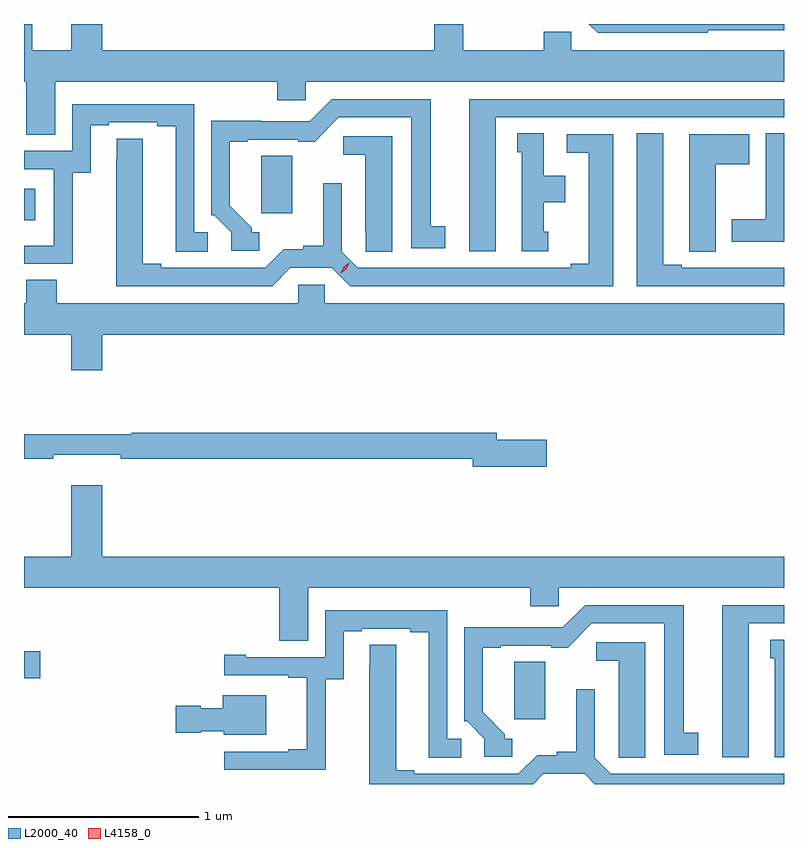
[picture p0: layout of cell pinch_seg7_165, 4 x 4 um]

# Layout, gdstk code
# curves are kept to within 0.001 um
import gdstk
lib = gdstk.Library(unit=1e-6, precision=1e-09)
def R(c, l, rs):  # rectangles x0, y0, x1, y1
    for r in rs: c.add(gdstk.rectangle(r[:2], r[2:], *l))
def P(c, l, *ps):  # polygons
    for p in ps: c.add(gdstk.Polygon(p, *l))
L2000_40 = (2000, 40)
L4158_0 = (4158, 0)

pinch_seg7_165 = lib.new_cell('pinch_seg7_165')
R(pinch_seg7_165, L2000_40, [(1123.799,1009.463,1123.885,1009.605), (1123.799,1011.875,1123.858,1012.039)])
P(pinch_seg7_165, L2000_40, [(1123.963,1012.604),(1125.131,1012.604),(1125.131,1012.506),(1125.282,1012.506),(1125.282,1012.604),(1127.799,1012.604),(1127.799,1012.768),(1126.68,1012.768),(1126.68,1012.866),(1126.534,1012.866),(1126.534,1012.768),(1126.111,1012.768),(1126.111,1012.907),(1125.959,1012.907),(1125.959,1012.768),(1124.212,1012.768),(1124.212,1012.907),(1124.048,1012.907),(1124.048,1012.768),(1123.843,1012.768),(1123.843,1012.907),(1123.799,1012.907),(1123.799,1012.604),(1123.811,1012.604),(1123.811,1012.324),(1123.963,1012.324)],
  [(1127.397,1012.875),(1127.799,1012.875),(1127.799,1012.907),(1126.771,1012.907),(1126.818,1012.86),(1127.397,1012.86)],
  [(1126.282,1012.416),(1127.799,1012.416),(1127.799,1012.512),(1126.142,1012.512),(1126.142,1011.711),(1126.282,1011.711)],
  [(1125.037,1011.81),(1124.998,1011.81),(1124.998,1011.834),(1124.881,1011.95),(1124.881,1012.287),(1124.977,1012.287),(1124.977,1012.299),(1125.242,1012.299),(1125.242,1012.288),(1125.328,1012.288),(1125.456,1012.416),(1125.836,1012.416),(1125.836,1011.726),(1126.015,1011.726),(1126.015,1011.842),(1125.94,1011.842),(1125.94,1012.512),(1125.42,1012.512),(1125.303,1012.395),(1125.047,1012.395),(1125.047,1012.397),(1124.784,1012.397),(1124.784,1011.9),(1124.799,1011.9),(1124.889,1011.81),(1124.889,1011.714),(1125.037,1011.714)],
  [(1124.055,1012.123),(1124.149,1012.123),(1124.149,1012.374),(1124.245,1012.374),(1124.245,1012.389),(1124.501,1012.389),(1124.501,1012.369),(1124.597,1012.369),(1124.597,1011.709),(1124.767,1011.709),(1124.767,1011.81),(1124.694,1011.81),(1124.694,1012.485),(1124.052,1012.485),(1124.052,1012.239),(1123.799,1012.239),(1123.799,1012.143),(1123.956,1012.143),(1123.956,1011.742),(1123.955,1011.742),(1123.955,1011.741),(1123.799,1011.741),(1123.799,1011.645),(1124.055,1011.645)],
  [(1127.799,1011.624),(1127.702,1011.624),(1127.702,1011.625),(1127.536,1011.625),(1127.536,1011.624),(1127.26,1011.624),(1127.26,1011.639),(1127.164,1011.639),(1127.164,1012.331),(1127.024,1012.331),(1127.024,1011.528),(1127.799,1011.528)],
  [(1126.558,1011.813),(1126.534,1011.813),(1126.534,1011.968),(1126.648,1011.968),(1126.648,1012.108),(1126.534,1012.108),(1126.534,1012.331),(1126.394,1012.331),(1126.394,1012.233),(1126.418,1012.233),(1126.418,1011.711),(1126.558,1011.711)],
  [(1127.799,1012.331),(1127.702,1012.331),(1127.702,1011.879),(1127.525,1011.879),(1127.525,1011.762),(1127.799,1011.762)],
  [(1127.44,1012.168),(1127.617,1012.168),(1127.617,1012.327),(1127.3,1012.327),(1127.3,1011.817),(1127.301,1011.817),(1127.301,1011.709),(1127.44,1011.709)],
  [(1125.201,1011.624),(1125.419,1011.624),(1125.515,1011.528),(1126.9,1011.528),(1126.9,1012.326),(1126.656,1012.326),(1126.656,1012.23),(1126.772,1012.23),(1126.772,1011.644),(1126.676,1011.644),(1126.676,1011.624),(1125.555,1011.624),(1125.471,1011.708),(1125.471,1012.069),(1125.374,1012.069),(1125.374,1011.74),(1125.27,1011.74),(1125.27,1011.722),(1125.167,1011.722),(1125.069,1011.624),(1124.521,1011.624),(1124.521,1011.644),(1124.425,1011.644),(1124.425,1012.304),(1124.286,1012.304),(1124.285,1011.528),(1125.105,1011.528)],
  [(1125.736,1012.317),(1125.48,1012.317),(1125.48,1012.22),(1125.596,1012.22),(1125.596,1011.817),(1125.597,1011.817),(1125.597,1011.709),(1125.736,1011.709)],
  [(1125.211,1012.056),(1125.21,1012.056),(1125.21,1012.214),(1125.047,1012.214),(1125.047,1011.912),(1125.211,1011.912)],
  [(1124.212,1011.272),(1127.799,1011.272),(1127.799,1011.436),(1125.381,1011.436),(1125.381,1011.534),(1125.243,1011.534),(1125.243,1011.436),(1123.971,1011.436),(1123.971,1011.56),(1123.811,1011.56),(1123.811,1011.436),(1123.799,1011.436),(1123.799,1011.272),(1124.048,1011.272),(1124.048,1011.084),(1124.212,1011.084)],
  [(1126.549,1010.72),(1126.288,1010.72),(1126.288,1010.756),(1124.366,1010.756),(1124.366,1010.749),(1123.799,1010.749),(1123.799,1010.62),(1123.952,1010.62),(1123.952,1010.639),(1124.308,1010.639),(1124.308,1010.62),(1126.16,1010.62),(1126.16,1010.578),(1126.549,1010.578)],
  [(1125.295,1009.94),(1126.463,1009.94),(1126.463,1009.842),(1126.614,1009.842),(1126.614,1009.94),(1127.799,1009.94),(1127.799,1010.104),(1124.212,1010.104),(1124.212,1010.479),(1124.048,1010.479),(1124.048,1010.104),(1123.799,1010.104),(1123.799,1009.94),(1125.143,1009.94),(1125.143,1009.66),(1125.295,1009.66)],
  [(1126.369,1009.146),(1126.33,1009.146),(1126.33,1009.17),(1126.213,1009.286),(1126.213,1009.623),(1126.309,1009.623),(1126.309,1009.635),(1126.574,1009.635),(1126.574,1009.624),(1126.66,1009.624),(1126.788,1009.752),(1127.168,1009.752),(1127.168,1009.062),(1127.347,1009.062),(1127.347,1009.178),(1127.272,1009.178),(1127.272,1009.848),(1126.752,1009.848),(1126.635,1009.731),(1126.379,1009.731),(1126.379,1009.733),(1126.116,1009.733),(1126.116,1009.236),(1126.131,1009.236),(1126.221,1009.146),(1126.221,1009.05),(1126.369,1009.05)],
  [(1127.614,1009.752),(1127.799,1009.752),(1127.799,1009.848),(1127.474,1009.848),(1127.474,1009.047),(1127.614,1009.047)],
  [(1125.387,1009.459),(1125.481,1009.459),(1125.481,1009.71),(1125.577,1009.71),(1125.577,1009.725),(1125.833,1009.725),(1125.833,1009.705),(1125.929,1009.705),(1125.929,1009.045),(1126.099,1009.045),(1126.099,1009.146),(1126.026,1009.146),(1126.026,1009.821),(1125.384,1009.821),(1125.384,1009.575),(1124.965,1009.575),(1124.965,1009.588),(1124.853,1009.588),(1124.853,1009.479),(1125.191,1009.479),(1125.191,1009.467),(1125.287,1009.467),(1125.287,1009.09),(1125.191,1009.09),(1125.191,1009.077),(1124.853,1009.077),(1124.853,1008.981),(1125.387,1008.981)],
  [(1127.799,1009.667),(1127.726,1009.667),(1127.726,1009.569),(1127.75,1009.569),(1127.75,1009.047),(1127.799,1009.047)],
  [(1127.068,1009.653),(1126.812,1009.653),(1126.812,1009.556),(1126.928,1009.556),(1126.928,1009.153),(1126.929,1009.153),(1126.929,1009.045),(1127.068,1009.045)],
  [(1126.533,1008.96),(1126.751,1008.96),(1126.804,1008.907),(1127.799,1008.907),(1127.799,1008.96),(1126.887,1008.96),(1126.803,1009.044),(1126.803,1009.405),(1126.706,1009.405),(1126.706,1009.076),(1126.602,1009.076),(1126.602,1009.058),(1126.499,1009.058),(1126.401,1008.96),(1125.853,1008.96),(1125.853,1008.98),(1125.757,1008.98),(1125.757,1009.64),(1125.618,1009.64),(1125.617,1008.907),(1126.48,1008.907)],
  [(1126.543,1009.392),(1126.542,1009.392),(1126.542,1009.55),(1126.379,1009.55),(1126.379,1009.248),(1126.543,1009.248)],
  [(1125.073,1009.375),(1124.846,1009.375),(1124.846,1009.306),(1124.73,1009.306),(1124.73,1009.319),(1124.598,1009.319),(1124.598,1009.177),(1124.73,1009.177),(1124.73,1009.184),(1124.85,1009.184),(1124.85,1009.166),(1125.073,1009.166)])
P(pinch_seg7_165, L4158_0, [(1125.465,1011.595),(1125.465,1011.595),(1125.481,1011.629),(1125.512,1011.65),(1125.512,1011.65),(1125.512,1011.65),(1125.496,1011.616),(1125.466,1011.595)])

lib.write_gds('pinch_seg7_165.gds')
